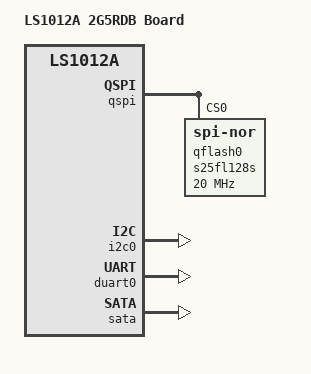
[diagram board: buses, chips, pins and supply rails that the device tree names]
// SPDX-License-Identifier: GPL-2.0+
/*
 * NXP ls1012a 2G5RDB board device tree source
 *
 * Copyright 2017 NXP
 */

/dts-v1/;
#include "fsl-ls1012a.dtsi"

/ {
	model = "LS1012A 2G5RDB Board";

	aliases {
		spi0 = &qspi;
	};

	chosen {
		stdout-path = &duart0;
	};
};

&qspi {
	bus-num = <0>;
	status = "okay";

	qflash0: s25fl128s@0 {
		#address-cells = <1>;
		#size-cells = <1>;
		compatible = "jedec,spi-nor";
		spi-max-frequency = <20000000>;
		reg = <0>;
	};
};

&i2c0 {
	status = "okay";
};

&duart0 {
	status = "okay";
};

&sata {
	status = "okay";
};
